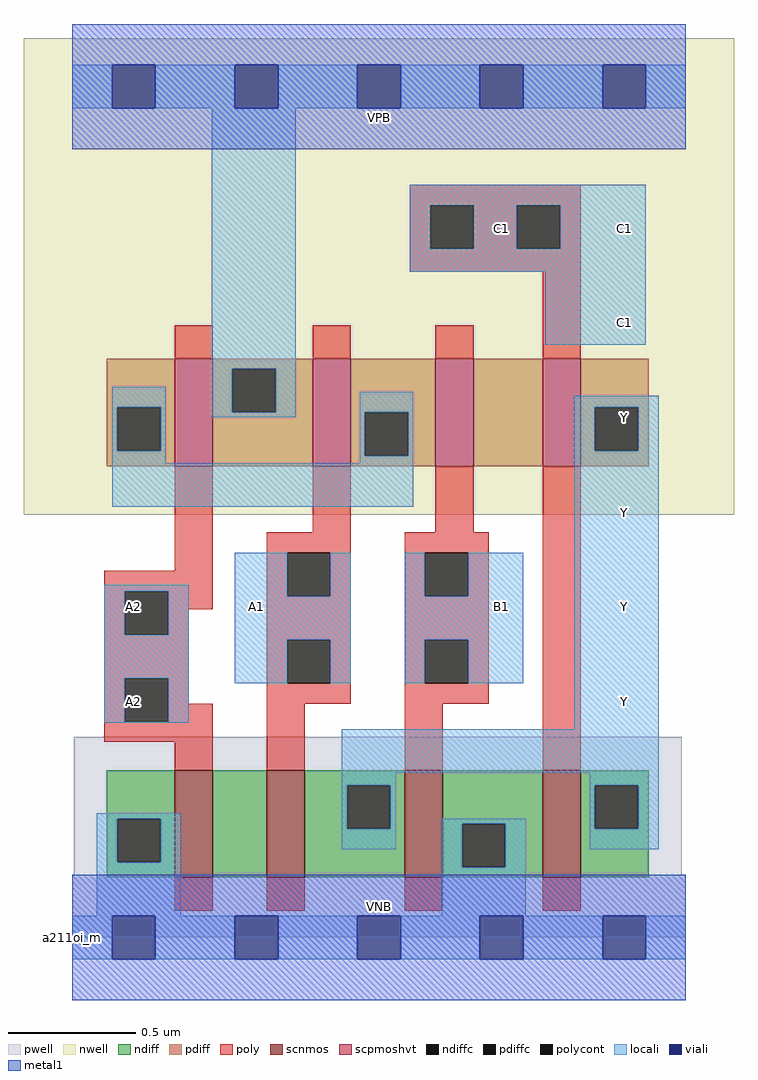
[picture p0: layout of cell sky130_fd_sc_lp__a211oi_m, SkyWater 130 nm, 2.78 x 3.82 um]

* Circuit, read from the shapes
.subckt sky130_fd_sc_lp__a211oi_m A1 A2 B1 C1 VGND VNB VPB VPWR Y
XM1 n1 A2 VGND VNB sky130_fd_pr__nfet_01v8 w=0.42 l=0.15
XM2 Y A1 n1 VNB sky130_fd_pr__nfet_01v8 w=0.42 l=0.15
XM3 VGND B1 Y VNB sky130_fd_pr__nfet_01v8 w=0.42 l=0.15
XM4 Y C1 VGND VNB sky130_fd_pr__nfet_01v8 w=0.42 l=0.15
XM5 VPWR A2 n2 VPB sky130_fd_pr__pfet_01v8_hvt w=0.42 l=0.15
XM6 n2 A1 VPWR VPB sky130_fd_pr__pfet_01v8_hvt w=0.42 l=0.15
XM7 n3 B1 n2 VPB sky130_fd_pr__pfet_01v8_hvt w=0.42 l=0.15
XM8 Y C1 n3 VPB sky130_fd_pr__pfet_01v8_hvt w=0.42 l=0.15
.ends

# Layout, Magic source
magic
tech sky130A
magscale 1 2
<< nwell >>
rect -38 331 518 704
<< pwell >>
rect 1 49 477 157
rect 0 0 480 49
<< scnmos >>
rect 80 47 110 131
rect 152 47 182 131
rect 260 47 290 131
rect 368 47 398 131
<< scpmoshvt >>
rect 80 369 110 453
rect 188 369 218 453
rect 284 369 314 453
rect 368 369 398 453
<< ndiff >>
rect 27 93 80 131
rect 27 59 35 93
rect 69 59 80 93
rect 27 47 80 59
rect 110 47 152 131
rect 182 119 260 131
rect 182 85 215 119
rect 249 85 260 119
rect 182 47 260 85
rect 290 89 368 131
rect 290 55 305 89
rect 339 55 368 89
rect 290 47 368 55
rect 398 119 451 131
rect 398 85 409 119
rect 443 85 451 119
rect 398 47 451 85
<< pdiff >>
rect 27 415 80 453
rect 27 381 35 415
rect 69 381 80 415
rect 27 369 80 381
rect 110 445 188 453
rect 110 411 125 445
rect 159 411 188 445
rect 110 369 188 411
rect 218 411 284 453
rect 218 377 229 411
rect 263 377 284 411
rect 218 369 284 377
rect 314 369 368 453
rect 398 415 451 453
rect 398 381 409 415
rect 443 381 451 415
rect 398 369 451 381
<< ndiffc >>
rect 35 59 69 93
rect 215 85 249 119
rect 305 55 339 89
rect 409 85 443 119
<< pdiffc >>
rect 35 381 69 415
rect 125 411 159 445
rect 229 377 263 411
rect 409 381 443 415
<< poly >>
rect 264 573 398 589
rect 264 539 280 573
rect 314 539 348 573
rect 382 539 398 573
rect 264 521 398 539
rect 80 453 110 479
rect 188 453 218 479
rect 284 453 314 479
rect 368 453 398 521
rect 80 287 110 369
rect 188 317 218 369
rect 284 317 314 369
rect 25 271 110 287
rect 25 237 41 271
rect 75 257 110 271
rect 152 301 218 317
rect 152 267 168 301
rect 202 267 218 301
rect 75 237 91 257
rect 25 203 91 237
rect 25 169 41 203
rect 75 183 91 203
rect 152 233 218 267
rect 152 199 168 233
rect 202 199 218 233
rect 152 183 218 199
rect 260 301 326 317
rect 260 267 276 301
rect 310 267 326 301
rect 260 233 326 267
rect 260 199 276 233
rect 310 199 326 233
rect 260 183 326 199
rect 75 169 110 183
rect 25 153 110 169
rect 80 131 110 153
rect 152 131 182 183
rect 260 131 290 183
rect 368 131 398 369
rect 80 21 110 47
rect 152 21 182 47
rect 260 21 290 47
rect 368 21 398 47
<< polycont >>
rect 280 539 314 573
rect 348 539 382 573
rect 41 237 75 271
rect 168 267 202 301
rect 41 169 75 203
rect 168 199 202 233
rect 276 267 310 301
rect 276 199 310 233
<< locali >>
rect 0 649 31 683
rect 65 649 127 683
rect 161 649 223 683
rect 257 649 319 683
rect 353 649 415 683
rect 449 649 480 683
rect 109 445 175 649
rect 264 573 449 589
rect 264 539 280 573
rect 314 539 348 573
rect 382 539 449 573
rect 264 521 449 539
rect 370 464 449 521
rect 31 415 73 431
rect 31 381 35 415
rect 69 381 73 415
rect 109 411 125 445
rect 159 411 175 445
rect 109 407 175 411
rect 225 411 267 427
rect 31 371 73 381
rect 225 377 229 411
rect 263 377 267 411
rect 225 371 267 377
rect 31 337 267 371
rect 393 415 459 424
rect 393 381 409 415
rect 443 381 459 415
rect 25 271 91 276
rect 25 237 41 271
rect 75 237 91 271
rect 25 203 91 237
rect 25 169 41 203
rect 75 169 91 203
rect 127 267 168 301
rect 202 267 218 301
rect 127 233 218 267
rect 127 199 168 233
rect 202 199 218 233
rect 260 267 276 301
rect 310 267 353 301
rect 260 233 353 267
rect 260 199 276 233
rect 310 199 353 233
rect 25 168 91 169
rect 393 163 459 381
rect 211 129 459 163
rect 211 119 253 129
rect 19 93 85 97
rect 19 59 35 93
rect 69 59 85 93
rect 211 85 215 119
rect 249 85 253 119
rect 405 119 459 129
rect 211 69 253 85
rect 289 89 355 93
rect 19 17 85 59
rect 289 55 305 89
rect 339 55 355 89
rect 405 85 409 119
rect 443 85 459 119
rect 405 69 459 85
rect 289 17 355 55
rect 0 -17 31 17
rect 65 -17 127 17
rect 161 -17 223 17
rect 257 -17 319 17
rect 353 -17 415 17
rect 449 -17 480 17
<< viali >>
rect 31 649 65 683
rect 127 649 161 683
rect 223 649 257 683
rect 319 649 353 683
rect 415 649 449 683
rect 31 -17 65 17
rect 127 -17 161 17
rect 223 -17 257 17
rect 319 -17 353 17
rect 415 -17 449 17
<< metal1 >>
rect 0 683 480 715
rect 0 649 31 683
rect 65 649 127 683
rect 161 649 223 683
rect 257 649 319 683
rect 353 649 415 683
rect 449 649 480 683
rect 0 617 480 649
rect 0 17 480 49
rect 0 -17 31 17
rect 65 -17 127 17
rect 161 -17 223 17
rect 257 -17 319 17
rect 353 -17 415 17
rect 449 -17 480 17
rect 0 -49 480 -17
<< labels >>
flabel pwell s 0 0 480 49 0 FreeSans 200 0 0 0 VNB
port 6 nsew ground bidirectional
flabel nwell s 0 617 480 666 0 FreeSans 200 0 0 0 VPB
port 7 nsew power bidirectional
rlabel comment s 0 0 0 0 4 a211oi_m
flabel metal1 s 0 617 480 666 0 FreeSans 340 0 0 0 VPWR
port 8 nsew power bidirectional
flabel metal1 s 0 0 480 49 0 FreeSans 340 0 0 0 VGND
port 5 nsew ground bidirectional
flabel locali s 127 242 161 276 0 FreeSans 340 0 0 0 A1
port 1 nsew signal input
flabel locali s 415 168 449 202 0 FreeSans 340 0 0 0 Y
port 9 nsew signal output
flabel locali s 415 242 449 276 0 FreeSans 340 0 0 0 Y
port 9 nsew signal output
flabel locali s 415 316 449 350 0 FreeSans 340 0 0 0 Y
port 9 nsew signal output
flabel locali s 415 390 449 424 0 FreeSans 340 0 0 0 Y
port 9 nsew signal output
flabel locali s 31 168 65 202 0 FreeSans 340 0 0 0 A2
port 2 nsew signal input
flabel locali s 31 242 65 276 0 FreeSans 340 0 0 0 A2
port 2 nsew signal input
flabel locali s 319 242 353 276 0 FreeSans 340 0 0 0 B1
port 3 nsew signal input
flabel locali s 415 464 449 498 0 FreeSans 340 0 0 0 C1
port 4 nsew signal input
flabel locali s 415 538 449 572 0 FreeSans 340 0 0 0 C1
port 4 nsew signal input
flabel locali s 319 538 353 572 0 FreeSans 340 0 0 0 C1
port 4 nsew signal input
<< properties >>
string LEFsite unit
string LEFclass CORE
string FIXED_BBOX 0 0 480 666
string GDS_FILE $PDKPATH/libs.ref/sky130_fd_sc_lp/gds/sky130_fd_sc_lp.gds
string LEFsymmetry X Y R90
string GDS_END 179466
string GDS_START 173858
<< end >>
